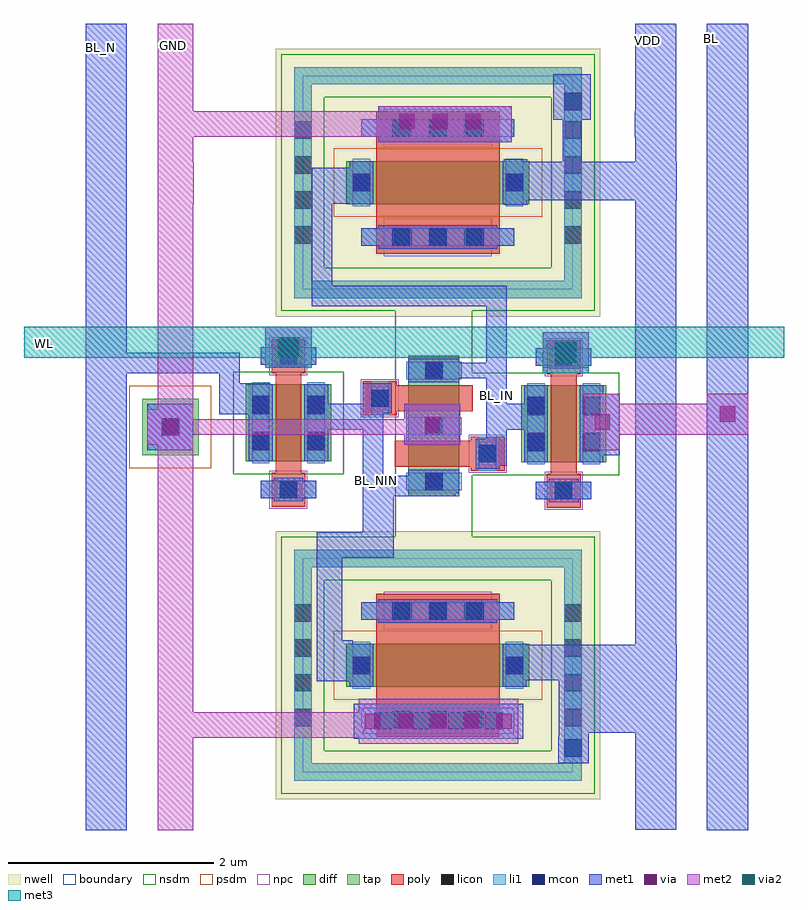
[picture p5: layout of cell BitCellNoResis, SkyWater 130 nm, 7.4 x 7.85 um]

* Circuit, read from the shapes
.subckt BitCellNoResis BL BL_IN BL_N BL_NIN GND VDD WL
XM1 BL_NIN WL BL_N GND sky130_fd_pr__nfet_01v8 w=0.75 l=0.25
XM2 GND BL_IN BL_NIN GND sky130_fd_pr__nfet_01v8 w=0.5 l=0.25
XM3 BL_IN BL_NIN GND GND sky130_fd_pr__nfet_01v8 w=0.5 l=0.25
XM4 BL WL BL_IN GND sky130_fd_pr__nfet_01v8 w=0.75 l=0.25
XM5 VDD GND BL_NIN VDD sky130_fd_pr__pfet_01v8 w=0.42 l=1.2
XM6 VDD GND BL_IN VDD sky130_fd_pr__pfet_01v8 w=0.42 l=1.2
.ends

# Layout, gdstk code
from math import pi, radians
import gdstk
lib = gdstk.Library(unit=1e-6, precision=1e-09)
def R(c, l, rs):  # rectangles x0, y0, x1, y1
    for r in rs: c.add(gdstk.rectangle(r[:2], r[2:], *l))
def A(c, l, x, y, w, h, nx, ny, dx, dy):  # array of equal rectangles
    R(c, l, [(x+i*dx, y+j*dy, x+i*dx+w, y+j*dy+h) for i in range(nx) for j in range(ny)])
nwell = (64, 20)
diff = (65, 20)
tap = (65, 44)
poly = (66, 20)
licon = (66, 44)
li1 = (67, 20)
mcon = (67, 44)
met1 = (68, 20)
via = (68, 44)
met2 = (69, 20)
via2 = (69, 44)
met3 = (70, 20)
nsdm = (93, 44)
psdm = (94, 20)
npc = (95, 20)
boundary = (235, 4)

sky130_fd_pr__pfet_01v8_ = lib.new_cell('sky130_fd_pr__pfet_01v8_6KFL8S')
R(sky130_fd_pr__pfet_01v8_, nwell, [(-1.58,-1.305,1.58,1.305)])
R(sky130_fd_pr__pfet_01v8_, diff, [(-0.89,-0.21,0.89,0.21)])
R(sky130_fd_pr__pfet_01v8_, tap, [(-1.4,-1.125,1.4,-0.955), (-1.4,-0.955,-1.23,0.955), (1.23,-0.955,1.4,0.955), (-1.4,0.955,1.4,1.125)])
R(sky130_fd_pr__pfet_01v8_, poly, [(-0.6,-0.695,0.6,0.695)])
A(sky130_fd_pr__pfet_01v8_, licon, -0.425, -0.615, 0.17, 0.17, 3, 2, 0.34, 1.06)
A(sky130_fd_pr__pfet_01v8_, licon, -1.4, -0.595, 0.17, 0.17, 1, 4, 0, 0.34)
A(sky130_fd_pr__pfet_01v8_, licon, 1.23, -0.595, 0.17, 0.17, 1, 4, 0, 0.34)
R(sky130_fd_pr__pfet_01v8_, licon, [(-0.83,-0.085,-0.66,0.085), (0.66,-0.085,0.83,0.085)])
R(sky130_fd_pr__pfet_01v8_, li1, [(-1.4,-1.125,1.4,-0.955), (-1.4,-0.955,-1.23,0.955), (1.23,-0.955,1.4,0.955), (-0.745,-0.615,0.745,-0.445), (-0.83,-0.23,-0.66,0.23), (0.66,-0.23,0.83,0.23), (-0.745,0.445,0.745,0.615), (-1.4,0.955,1.4,1.125)])
A(sky130_fd_pr__pfet_01v8_, mcon, -0.445, -0.615, 0.17, 0.17, 3, 2, 0.36, 1.06)
R(sky130_fd_pr__pfet_01v8_, mcon, [(-0.83,-0.085,-0.66,0.085), (0.66,-0.085,0.83,0.085)])
R(sky130_fd_pr__pfet_01v8_, met1, [(-0.58,-0.645,0.58,-0.615), (-0.745,-0.615,0.745,-0.445), (-0.58,-0.445,0.58,-0.415), (-0.86,-0.21,-0.63,0.21), (0.63,-0.21,0.86,0.21), (-0.58,0.415,0.58,0.445), (-0.745,0.445,0.745,0.615), (-0.58,0.615,0.58,0.645)])
R(sky130_fd_pr__pfet_01v8_, nsdm, [(-1.525,-1.25,1.525,-0.83), (-1.525,-0.83,-1.105,0.83), (1.105,-0.83,1.525,0.83), (-1.525,0.83,1.525,1.25)])
R(sky130_fd_pr__pfet_01v8_, psdm, [(-1.015,-0.335,1.015,0.335)])
R(sky130_fd_pr__pfet_01v8_, npc, [(-0.525,-0.715,0.525,-0.345), (-0.525,0.345,0.525,0.715)])
R(sky130_fd_pr__pfet_01v8_, boundary, [(-1.315,-1.04,1.315,1.04)])
sky130_fd_pr__pfet_01v8_.add(gdstk.Label('B', (0,-1.04), layer=65, texttype=5))
sky130_fd_pr__pfet_01v8_.add(gdstk.Label('D', (-0.745,0), layer=67, texttype=5))
sky130_fd_pr__pfet_01v8_.add(gdstk.Label('S', (0.745,0), layer=67, texttype=5))
sky130_fd_pr__pfet_01v8_.add(gdstk.Label('G', (0,0.53), layer=67, texttype=5))

sky130_fd_pr__nfet_01v8_ = lib.new_cell('sky130_fd_pr__nfet_01v8_HKHAX8')
R(sky130_fd_pr__nfet_01v8_, diff, [(-0.415,-0.375,0.415,0.375)])
R(sky130_fd_pr__nfet_01v8_, poly, [(-0.165,-0.815,0.165,-0.485), (-0.125,-0.485,0.125,0.485), (-0.165,0.485,0.165,0.815)])
R(sky130_fd_pr__nfet_01v8_, licon, [(-0.085,-0.735,0.085,-0.565), (-0.355,-0.255,-0.185,-0.085), (0.185,-0.255,0.355,-0.085), (-0.355,0.085,-0.185,0.255), (0.185,0.085,0.355,0.255), (-0.085,0.565,0.085,0.735)])
R(sky130_fd_pr__nfet_01v8_, li1, [(-0.27,-0.735,0.27,-0.565), (-0.355,-0.395,-0.185,0.395), (0.185,-0.395,0.355,0.395), (-0.27,0.565,0.27,0.735)])
R(sky130_fd_pr__nfet_01v8_, mcon, [(-0.085,-0.735,0.085,-0.565), (-0.355,-0.265,-0.185,-0.095), (0.185,-0.265,0.355,-0.095), (-0.355,0.095,-0.185,0.265), (0.185,0.095,0.355,0.265), (-0.085,0.565,0.085,0.735)])
R(sky130_fd_pr__nfet_01v8_, met1, [(-0.145,-0.765,0.145,-0.735), (-0.27,-0.735,0.27,-0.565), (-0.145,-0.565,0.145,-0.535), (-0.385,-0.375,-0.155,0.375), (0.155,-0.375,0.385,0.375), (-0.145,0.535,0.145,0.565), (-0.27,0.565,0.27,0.735), (-0.145,0.735,0.145,0.765)])
R(sky130_fd_pr__nfet_01v8_, nsdm, [(-0.54,-0.5,0.54,0.5)])
R(sky130_fd_pr__nfet_01v8_, npc, [(-0.185,-0.835,0.185,-0.465), (-0.185,0.465,0.185,0.835)])
sky130_fd_pr__nfet_01v8_.add(gdstk.Label('D', (-0.27,0), layer=67, texttype=5))
sky130_fd_pr__nfet_01v8_.add(gdstk.Label('S', (0.27,0), layer=67, texttype=5))
sky130_fd_pr__nfet_01v8_.add(gdstk.Label('G', (0,0.65), layer=67, texttype=5))

c_sky130_fd_pr__nfet_01v8_ = lib.new_cell('sky130_fd_pr__nfet_01v8_BHJCXL')
R(c_sky130_fd_pr__nfet_01v8_, diff, [(-0.685,-0.25,0.685,0.25)])
R(c_sky130_fd_pr__nfet_01v8_, poly, [(-0.435,-0.69,-0.105,-0.36), (0.145,-0.38,0.395,0.36), (-0.395,-0.36,-0.145,0.38), (0.105,0.36,0.435,0.69)])
A(c_sky130_fd_pr__nfet_01v8_, licon, -0.625, -0.085, 0.17, 0.17, 3, 1, 0.54, 0)
R(c_sky130_fd_pr__nfet_01v8_, licon, [(-0.355,-0.61,-0.185,-0.44), (0.185,0.44,0.355,0.61)])
A(c_sky130_fd_pr__nfet_01v8_, li1, -0.625, -0.27, 0.17, 0.54, 3, 1, 0.54, 0)
R(c_sky130_fd_pr__nfet_01v8_, li1, [(-0.435,-0.61,-0.105,-0.44), (0.105,0.44,0.435,0.61)])
A(c_sky130_fd_pr__nfet_01v8_, mcon, -0.625, -0.085, 0.17, 0.17, 3, 1, 0.54, 0)
R(c_sky130_fd_pr__nfet_01v8_, mcon, [(-0.355,-0.61,-0.185,-0.44), (0.185,0.44,0.355,0.61)])
A(c_sky130_fd_pr__nfet_01v8_, met1, -0.655, -0.25, 0.23, 0.5, 3, 1, 0.54, 0)
R(c_sky130_fd_pr__nfet_01v8_, met1, [(-0.415,-0.64,-0.125,-0.41), (0.125,0.41,0.415,0.64)])
R(c_sky130_fd_pr__nfet_01v8_, nsdm, [(-0.81,-0.375,0.81,0.375)])
R(c_sky130_fd_pr__nfet_01v8_, npc, [(-0.455,-0.71,-0.085,-0.34), (0.085,0.34,0.455,0.71)])
c_sky130_fd_pr__nfet_01v8_.add(gdstk.Label('D0', (-0.54,0), layer=67, texttype=5))
c_sky130_fd_pr__nfet_01v8_.add(gdstk.Label('G0', (-0.27,-0.525), layer=67, texttype=5))
c_sky130_fd_pr__nfet_01v8_.add(gdstk.Label('S1', (0,0), layer=67, texttype=5))
c_sky130_fd_pr__nfet_01v8_.add(gdstk.Label('G1', (0.27,0.525), layer=67, texttype=5))

bitcellnoresis = lib.new_cell('BitCellNoResis')
R(bitcellnoresis, tap, [(-1.65,1,-1.1,1.55)])
R(bitcellnoresis, licon, [(-1.46,1.19,-1.29,1.36)])
R(bitcellnoresis, li1, [(2.46,-1.95,2.63,-1.75), (0.5,-1.71,1.97,-1.46), (-1.6,1.05,-1.15,1.5), (2.46,4.31,2.63,4.58)])
A(bitcellnoresis, mcon, 0.61, -1.67, 0.17, 0.17, 4, 1, 0.36, 0)
R(bitcellnoresis, mcon, [(2.46,-1.935,2.63,-1.765), (-1.46,1.19,-1.29,1.36), (2.46,4.36,2.63,4.53)])
R(bitcellnoresis, met1, [(-2.2,-2.65,-1.8,1.8), (3.85,-2.65,4.25,5.2), (3.15,-2.645,3.55,-1.7), (2.4,-2,2.7,-1.74), (0.41,-1.76,2.06,-1.42), (2.405,-1.74,2.7,-1.7), (2.405,-1.7,3.55,-1.19), (0.05,-1.2,0.6,-0.85), (1.895,-1.19,3.555,-0.845), (0.05,-0.85,0.4,-0.8), (3.15,-0.845,3.55,3.485), (0.05,-0.8,0.3,0), (0.05,0,0.8,0.25), (0.5,0.25,0.8,0.6), (0.5,0.6,1.4,0.8), (0.5,0.8,0.7,1.25), (1.7,0.9,1.9,1.25), (2.65,1,3,1.6), (-1.6,1.05,-1.15,1.5), (0.92,1.1,1.45,1.5), (0,1.25,0.7,1.5), (1.7,1.25,2.3,1.5), (-0.9,1.4,-0.4,1.7), (0.5,1.5,0.7,1.7), (1.7,1.5,1.9,1.75), (-0.9,1.7,-0.7,1.8), (1.1,1.75,1.9,1.9), (-2.2,1.8,-0.7,2), (-0.45,1.85,0,2.25), (2.25,1.85,2.7,2.2), (1.7,1.9,1.9,2.45), (-2.2,2,-1.8,5.2), (0,2.45,1.9,2.65), (0,2.65,0.2,3.45), (1.87,3.44,2.1,3.485), (0,3.45,0.4,3.5), (1.87,3.485,3.555,3.86), (0,3.5,0.6,3.8), (1.87,3.86,2.1,3.88), (2.445,3.86,2.63,4.265), (3.15,3.86,3.55,4.1), (0.65,4.05,1.95,4.4), (3.145,4.1,3.55,4.35), (2.355,4.265,2.72,4.71), (3.15,4.35,3.55,5.2)])
A(bitcellnoresis, via, 0.52, -1.665, 0.15, 0.15, 5, 1, 0.32, 0)
A(bitcellnoresis, via, 0.855, 4.175, 0.15, 0.15, 3, 1, 0.32, 0)
R(bitcellnoresis, via, [(-1.455,1.205,-1.305,1.355), (1.1,1.225,1.25,1.375), (2.755,1.25,2.905,1.4), (3.975,1.325,4.125,1.475), (2.4,1.925,2.55,2.075), (-0.3,1.975,-0.15,2.125)])
R(bitcellnoresis, met2, [(-1.5,-2.65,-1.15,-1.75), (0.46,-1.81,2.01,-1.75), (-1.5,-1.75,2.01,-1.5), (-1.5,-1.5,-1.15,1.1), (0.46,-1.5,2.01,-1.37), (2.65,1.05,3,1.2), (-1.6,1.1,-1.15,1.2), (0.9,1.1,1.45,1.2), (-1.6,1.2,1.45,1.35), (2.65,1.2,4.25,1.5), (-1.6,1.35,-1.15,1.45), (0.9,1.35,1.45,1.5), (-1.5,1.45,-1.15,3.45), (2.65,1.5,3,1.6), (3.85,1.5,4.25,1.6), (2.25,1.8,2.7,2.2), (-0.45,1.85,0,2.25), (-1.5,3.45,-1.145,3.85), (-1.5,3.85,-1.15,4.1), (0.65,4.05,1.95,4.1), (-1.5,4.1,1.95,4.35), (-1.5,4.35,-1.15,5.2), (0.65,4.35,1.95,4.4)])
R(bitcellnoresis, via2, [(2.375,1.9,2.575,2.1), (-0.325,1.95,-0.125,2.15)])
R(bitcellnoresis, met3, [(2.25,1.8,2.7,1.95), (-0.45,1.85,0,1.95), (-2.8,1.95,4.6,2.25)])
R(bitcellnoresis, nsdm, [(0.815,0.205,1.565,0.475), (1.565,0.805,1.915,1.805), (0.815,2.095,1.565,2.405)])
R(bitcellnoresis, psdm, [(-1.775,0.875,-0.975,1.675)])
bitcellnoresis.add(gdstk.Reference(sky130_fd_pr__pfet_01v8_, (1.23,-1.045)))
bitcellnoresis.add(gdstk.Reference(sky130_fd_pr__pfet_01v8_, (1.23,3.655), rotation=pi))
bitcellnoresis.add(gdstk.Reference(sky130_fd_pr__nfet_01v8_, (2.455,1.305)))
bitcellnoresis.add(gdstk.Reference(sky130_fd_pr__nfet_01v8_, (-0.225,1.315)))
bitcellnoresis.add(gdstk.Reference(c_sky130_fd_pr__nfet_01v8_, (1.19,1.285), rotation=3*pi/2))
bitcellnoresis.add(gdstk.Label('VDD', (3.27,5.04), layer=68, texttype=5))
bitcellnoresis.add(gdstk.Label('GND', (-1.34,4.99), layer=69, texttype=5))
bitcellnoresis.add(gdstk.Label('WL', (-2.6,2.09), layer=70, texttype=5))
bitcellnoresis.add(gdstk.Label('BL', (3.89,5.06), layer=68, texttype=5))
bitcellnoresis.add(gdstk.Label('BL_N', (-2.06,4.97), layer=68, texttype=5))
bitcellnoresis.add(gdstk.Label('BL_IN', (1.8,1.58), layer=68, texttype=5))
bitcellnoresis.add(gdstk.Label('BL_NIN', (0.63,0.75), layer=68, texttype=5))

lib.write_gds('BitCellNoResis.gds')
